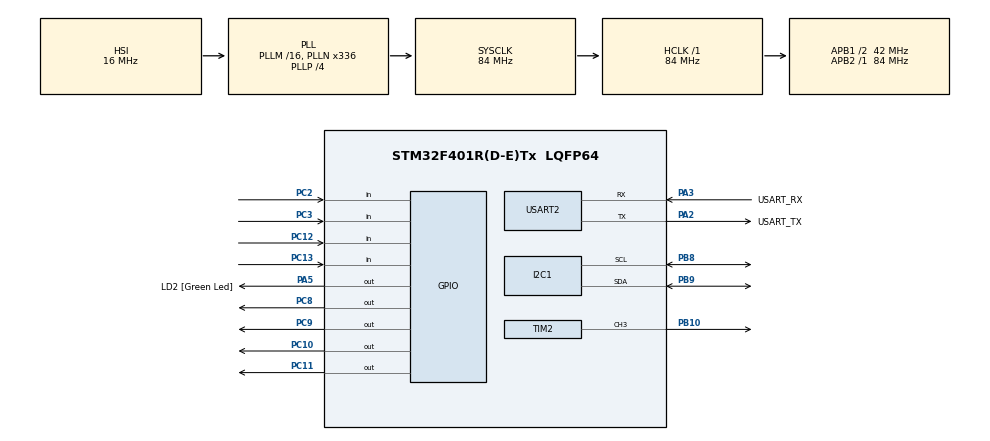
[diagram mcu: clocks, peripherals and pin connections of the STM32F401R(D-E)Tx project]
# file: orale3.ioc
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Mcu.Family=STM32F4
Mcu.Name=STM32F401R(D-E)Tx
Mcu.Package=LQFP64
NVIC.PriorityGroup=NVIC_PRIORITYGROUP_0
NVIC.RCC_IRQn=true\:0\:0\:false\:false\:true\:true\:false\:true
NVIC.TIM1_UP_TIM10_IRQn=true\:0\:0\:false\:false\:true\:true\:true\:true
NVIC.TIM2_IRQn=true\:0\:0\:false\:false\:true\:true\:true\:true
NVIC.TIM3_IRQn=true\:0\:0\:false\:false\:true\:true\:true\:true
NVIC.TIM4_IRQn=true\:0\:0\:false\:false\:true\:true\:true\:true
PA13.GPIO_Label=TMS
PA13.Mode=Serial_Wire
PA13.Signal=SYS_JTMS-SWDIO
PA14.GPIO_Label=TCK
PA14.Mode=Serial_Wire
PA14.Signal=SYS_JTCK-SWCLK
PA2.GPIO_Label=USART_TX
PA2.GPIO_Mode=GPIO_MODE_AF_PP
PA2.GPIO_PuPd=GPIO_NOPULL
PA2.GPIO_Speed=GPIO_SPEED_FREQ_LOW
PA2.Mode=Asynchronous
PA2.Signal=USART2_TX
PA3.GPIO_Label=USART_RX
PA3.GPIO_Mode=GPIO_MODE_AF_PP
PA3.GPIO_PuPd=GPIO_NOPULL
PA3.GPIO_Speed=GPIO_SPEED_FREQ_LOW
PA3.Mode=Asynchronous
PA3.Signal=USART2_RX
PA5.GPIO_Label=LD2 [Green Led]
PA5.GPIO_Mode=GPIO_MODE_OUTPUT_PP
PA5.GPIO_PuPd=GPIO_NOPULL
PA5.GPIO_Speed=GPIO_SPEED_FREQ_LOW
PA5.Signal=GPIO_Output
PB10.Signal=S_TIM2_CH3
PB3.GPIO_Label=SWO
PB3.Signal=SYS_JTDO-SWO
PB8.Mode=I2C
PB8.Signal=I2C1_SCL
PB9.Mode=I2C
PB9.Signal=I2C1_SDA
PC10.Signal=GPIO_Output
PC11.Signal=GPIO_Output
PC12.Signal=GPIO_Input
PC13-ANTI_TAMP.Signal=GPIO_Input
PC14-OSC32_IN.Mode=LSE-External-Oscillator
PC14-OSC32_IN.Signal=RCC_OSC32_IN
PC15-OSC32_OUT.Mode=LSE-External-Oscillator
PC15-OSC32_OUT.Signal=RCC_OSC32_OUT
PC2.Signal=GPIO_Input
PC3.Signal=GPIO_Input
PC8.Signal=GPIO_Output
PC9.Signal=GPIO_Output
PH0\ -\ OSC_IN.Mode=HSE-External-Clock-Source
PH0\ -\ OSC_IN.Signal=RCC_OSC_IN
PH1\ -\ OSC_OUT.Mode=HSE-External-Clock-Source
PH1\ -\ OSC_OUT.Signal=RCC_OSC_OUT
ProjectManager.HeapSize=0x200
ProjectManager.StackSize=0x400
ProjectManager.TargetToolchain=STM32CubeIDE
RCC.48MHZClocksFreq_Value=48000000
RCC.AHBFreq_Value=84000000
RCC.APB1CLKDivider=RCC_HCLK_DIV2
RCC.APB1Freq_Value=42000000
RCC.APB1TimFreq_Value=84000000
RCC.APB2Freq_Value=84000000
RCC.APB2TimFreq_Value=84000000
RCC.CortexFreq_Value=84000000
RCC.HCLKFreq_Value=84000000
RCC.HSE_VALUE=8000000
RCC.HSI_VALUE=16000000
RCC.PLLN=336
RCC.PLLP=RCC_PLLP_DIV4
RCC.PLLQ=7
RCC.SYSCLKFreq_VALUE=84000000
RCC.SYSCLKSource=RCC_SYSCLKSOURCE_PLLCLK
RCC.VCOOutputFreq_Value=336000000
SH.S_TIM2_CH3.0=TIM2_CH3,PWM Generation3 CH3
TIM1.Period=499
TIM1.Prescaler=69
TIM2.Channel-PWM\ Generation3\ CH3=TIM_CHANNEL_3
TIM2.Period=60
TIM2.Prescaler=35
TIM2.Pulse-PWM\ Generation3\ CH3=30
TIM3.Period=100-1
TIM3.Prescaler=8400-1
TIM4.Period=10000
TIM4.Prescaler=8400-1
USART2.VirtualMode=VM_ASYNC
VP_TIM1_VS_ClockSourceINT.Mode=Internal
VP_TIM2_VS_ClockSourceINT.Mode=Internal
VP_TIM3_VS_ClockSourceINT.Mode=Internal
VP_TIM4_VS_ClockSourceINT.Mode=Internal
board=NUCLEO-F401RE

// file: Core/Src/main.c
/* USER CODE BEGIN Header */
/**
 ******************************************************************************
 * @file           : main.c
 * @brief          : Main program body
 ******************************************************************************
 * @attention
 *
 * Copyright (c) 2023 STMicroelectronics.
 * All rights reserved.
 *
 * This software is licensed under terms that can be found in the LICENSE file
 * in the root directory of this software component.
 * If no LICENSE file comes with this software, it is provided AS-IS.
 *
 ******************************************************************************
 */
/* USER CODE END Header */
#include "main.h"

/* USER CODE BEGIN Includes */
#include <stdio.h>
/* USER CODE END Includes */

/* USER CODE BEGIN PD */
#define QUEUE_SIZE 100
#define N_ROWS_K 4
#define N_COLS_K 4
#define DATA_SIZE 2
/* USER CODE END PD */

I2C_HandleTypeDef hi2c1;

TIM_HandleTypeDef htim1;
TIM_HandleTypeDef htim2;
TIM_HandleTypeDef htim3;
TIM_HandleTypeDef htim4;

UART_HandleTypeDef huart2;

/* USER CODE BEGIN PV */
struct Queue {
	uint8_t items[QUEUE_SIZE];
	int front;
	int rear;
	int size;
} tx_queue;
int transmitting = 0;

const uint16_t k_input[] = { GPIO_PIN_3, GPIO_PIN_2, GPIO_PIN_13, GPIO_PIN_12 };
const uint16_t k_output[] = { GPIO_PIN_8, GPIO_PIN_9, GPIO_PIN_10, GPIO_PIN_11 };
char string[64];
int length;

uint16_t ThermAddress = 0b10010000;
uint8_t ThermDataAddr = 0x00;
uint32_t Timeout = 10;
uint8_t ThermBuffer[DATA_SIZE] = {0, 0};
uint8_t MSB = 0;
uint8_t LSB = 0;
// uint8_t MSB_old = 0;
// uint8_t LSB_old = 0;
uint8_t MSB_new = 0;
uint16_t TempBits = 0;
float temperature;

/* USER CODE END PV */

void SystemClock_Config(void);
static void MX_GPIO_Init(void);
static void MX_USART2_UART_Init(void);
static void MX_TIM2_Init(void);
static void MX_TIM3_Init(void);
static void MX_TIM1_Init(void);
static void MX_I2C1_Init(void);
static void MX_TIM4_Init(void);
/* USER CODE BEGIN PFP */
void init_queue(struct Queue* q);
int isFull(struct Queue *queue);
int isEmpty(struct Queue *queue);
int enqueue(struct Queue *queue, uint8_t item);
uint8_t dequeue(struct Queue *queue);
uint8_t* front(struct Queue *queue);
void transmit(uint8_t value);

/* USER CODE END PFP */

/* USER CODE BEGIN 0 */

void HAL_TIM_PeriodElapsedCallback(TIM_HandleTypeDef *htim) {
	if (htim == &htim1) {
		static int8_t bit_counter = -1; //bit that has to be transmitted
		static int8_t parity = 0; //parity bit memorization
		static int8_t tim_on = 0; //status of the timer
		static uint8_t data = 0; //byte to be sent
		uint8_t bit_tx; //bit to transmit

		if (bit_counter == -1) { //start bit
			data = dequeue(&tx_queue); //get the full byte to be sent
			bit_tx = 0; //transmit 0
		} else if (bit_counter < 7) { //7 bit of data transmission
			bit_tx = data & 0b00000001; //extract first bit
			data = data >> 1; //shift data for next transmission
			if (bit_tx)
				parity = !parity; //calculate parity (if a 1 is found switch parity)
		} else if (bit_counter == 7) { //partity bit transmission
			bit_tx = parity;
		} else if (bit_counter == 8) { //last transmission
			bit_tx = 1;
		}

		//transmission section
		if (bit_tx && tim_on) { //to transmit 1 turn off PWM
			HAL_TIM_PWM_Stop(&htim2, TIM_CHANNEL_3);
			tim_on = 0;

		} else if (!bit_tx && !tim_on) { //to transmit 0 turn on PWM
			HAL_TIM_PWM_Start(&htim2, TIM_CHANNEL_3);
			tim_on = 1;
		}

		if (bit_counter >= 8) { //reset variables for next transmission
			bit_counter = -1;
			parity = 0;
			if (isEmpty(&tx_queue)){ //if there is nothing more to transmit stop timer
				HAL_TIM_Base_Stop_IT(&htim1);
				transmitting = 0;
			}
			return;
		}

		bit_counter++;

	}else if (htim == &htim3) {
		static const char lett[16] = "CDEF89AB45670123"; //initialized letters array
		static char state[16] = { 0 }; //initialized states of buttons
		static int col = 0; //index for column

		for (int i = 0; i < N_ROWS_K; i++) {
			int on = !HAL_GPIO_ReadPin(GPIOC, k_input[i]);

			if (on && state[col + i * N_ROWS_K] == 0) {

				//enqueue letter for transmission
				transmit(lett[col + i * N_ROWS_K]);
				state[col + i * N_ROWS_K] = 1;

			} else if (!on && state[col + i * N_ROWS_K] == 1) {
				state[col + i * N_ROWS_K] = 0;
			}
		}

		HAL_GPIO_WritePin(GPIOC, k_output[col], 0);
		col = (col+1) % N_COLS_K;
		HAL_GPIO_WritePin(GPIOC, k_output[col], 1); //

	}
	if(htim == &htim4){
		if(HAL_I2C_Master_Receive(&hi2c1, ThermAddress+1, ThermBuffer, DATA_SIZE, Timeout) == HAL_OK){
			// MSB_old = MSB;
			// LSB_old = LSB;
			// temperature_old = temperature;
			MSB = ThermBuffer[0];
			LSB = ThermBuffer[1];
			// length = snprintf(string, sizeof(string),"MSB: 0x%02X LSB: 0x%02X\r\n", MSB, LSB);
			// HAL_UART_Transmit(&huart2, string, length, Timeout);

			// Solve the temperature change bug
			if(HAL_I2C_Master_Receive(&hi2c1, ThermAddress+1, &MSB_new, 1, Timeout) == HAL_OK){
				if (MSB_new != MSB){
					MSB = MSB_new;
				}
			} else {
				length = snprintf(string, sizeof(string), "Error in data reading!\r\n");
			}

			// Store the temperature data bits
			TempBits = ((MSB << 3) | (LSB >> 5));

			if (MSB & 0x80){
				// Invert the value of the bits and add one to obtain the right conversion
				TempBits = (TempBits ^ 0xFFF) + 1;
				temperature = - TempBits * 0.125;
			} else {
				// Convert the values as specified in the datasheet
				temperature = TempBits * 0.125;
			}

			length = snprintf(string, sizeof(string), "Temperature: %.3f C\r\n", temperature);
		} else {
			length = snprintf(string, sizeof(string), "Error in data reading!\r\n");
		}
		HAL_UART_Transmit(&huart2, string, length, Timeout);
		for(int i=0; i<strlen(string); i++){
			transmit(string[i]);
		}
	}
}

//to transmit data simply set current data value and start the timer

/* USER CODE END 0 */

int main(void)
{
  /* USER CODE BEGIN 1 */
	init_queue(&tx_queue);
  /* USER CODE END 1 */

  /* MCU Configuration--------------------------------------------------------*/

  /* Reset of all peripherals, Initializes the Flash interface and the Systick. */
  HAL_Init();

  /* Configure the system clock */
  SystemClock_Config();

  /* Initialize all configured peripherals */
  MX_GPIO_Init();
  MX_USART2_UART_Init();
  MX_TIM2_Init();
  MX_TIM3_Init();
  MX_TIM1_Init();
  MX_I2C1_Init();
  MX_TIM4_Init();
  /* USER CODE BEGIN 2 */
  HAL_TIM_Base_Start_IT(&htim3);
  HAL_I2C_Master_Transmit(&hi2c1, ThermAddress, &ThermDataAddr, DATA_SIZE, Timeout);
  HAL_TIM_Base_Start_IT(&htim4);

	//transmit('0');
	//transmit('1');
	//transmit('2');
	//transmit('3');
	//transmit('4');
	//transmit('5');
	//transmit('6');
	//transmit('7');
	//transmit('8');
	//transmit('9');
	//transmit('X');
	//transmit('A');
	//transmit('B');
	//transmit('C');
	//transmit('D');
	//transmit('E');
	//transmit('F');
  /* USER CODE END 2 */

  /* Infinite loop */
	while (1) {

	}
}

void SystemClock_Config(void)
{
  RCC_OscInitTypeDef RCC_OscInitStruct = {0};
  RCC_ClkInitTypeDef RCC_ClkInitStruct = {0};

  /** Configure the main internal regulator output voltage
  */
  __HAL_RCC_PWR_CLK_ENABLE();
  __HAL_PWR_VOLTAGESCALING_CONFIG(PWR_REGULATOR_VOLTAGE_SCALE2);

  /** Initializes the RCC Oscillators according to the specified parameters
  * in the RCC_OscInitTypeDef structure.
  */
  RCC_OscInitStruct.OscillatorType = RCC_OSCILLATORTYPE_HSI;
  RCC_OscInitStruct.HSIState = RCC_HSI_ON;
  RCC_OscInitStruct.HSICalibrationValue = RCC_HSICALIBRATION_DEFAULT;
  RCC_OscInitStruct.PLL.PLLState = RCC_PLL_ON;
  RCC_OscInitStruct.PLL.PLLSource = RCC_PLLSOURCE_HSI;
  RCC_OscInitStruct.PLL.PLLM = 16;
  RCC_OscInitStruct.PLL.PLLN = 336;
  RCC_OscInitStruct.PLL.PLLP = RCC_PLLP_DIV4;
  RCC_OscInitStruct.PLL.PLLQ = 7;
  if (HAL_RCC_OscConfig(&RCC_OscInitStruct) != HAL_OK)
  {
    Error_Handler();
  }

  /** Initializes the CPU, AHB and APB buses clocks
  */
  RCC_ClkInitStruct.ClockType = RCC_CLOCKTYPE_HCLK|RCC_CLOCKTYPE_SYSCLK
                              |RCC_CLOCKTYPE_PCLK1|RCC_CLOCKTYPE_PCLK2;
  RCC_ClkInitStruct.SYSCLKSource = RCC_SYSCLKSOURCE_PLLCLK;
  RCC_ClkInitStruct.AHBCLKDivider = RCC_SYSCLK_DIV1;
  RCC_ClkInitStruct.APB1CLKDivider = RCC_HCLK_DIV2;
  RCC_ClkInitStruct.APB2CLKDivider = RCC_HCLK_DIV1;

  if (HAL_RCC_ClockConfig(&RCC_ClkInitStruct, FLASH_LATENCY_2) != HAL_OK)
  {
    Error_Handler();
  }
}

static void MX_I2C1_Init(void)
{

  hi2c1.Instance = I2C1;
  hi2c1.Init.ClockSpeed = 100000;
  hi2c1.Init.DutyCycle = I2C_DUTYCYCLE_2;
  hi2c1.Init.OwnAddress1 = 0;
  hi2c1.Init.AddressingMode = I2C_ADDRESSINGMODE_7BIT;
  hi2c1.Init.DualAddressMode = I2C_DUALADDRESS_DISABLE;
  hi2c1.Init.OwnAddress2 = 0;
  hi2c1.Init.GeneralCallMode = I2C_GENERALCALL_DISABLE;
  hi2c1.Init.NoStretchMode = I2C_NOSTRETCH_DISABLE;
  if (HAL_I2C_Init(&hi2c1) != HAL_OK)
  {
    Error_Handler();
  }

}

static void MX_TIM1_Init(void)
{

  TIM_ClockConfigTypeDef sClockSourceConfig = {0};
  TIM_MasterConfigTypeDef sMasterConfig = {0};

  htim1.Instance = TIM1;
  htim1.Init.Prescaler = 69;
  htim1.Init.CounterMode = TIM_COUNTERMODE_UP;
  htim1.Init.Period = 499;
  htim1.Init.ClockDivision = TIM_CLOCKDIVISION_DIV1;
  htim1.Init.RepetitionCounter = 0;
  htim1.Init.AutoReloadPreload = TIM_AUTORELOAD_PRELOAD_DISABLE;
  if (HAL_TIM_Base_Init(&htim1) != HAL_OK)
  {
    Error_Handler();
  }
  sClockSourceConfig.ClockSource = TIM_CLOCKSOURCE_INTERNAL;
  if (HAL_TIM_ConfigClockSource(&htim1, &sClockSourceConfig) != HAL_OK)
  {
    Error_Handler();
  }
  sMasterConfig.MasterOutputTrigger = TIM_TRGO_RESET;
  sMasterConfig.MasterSlaveMode = TIM_MASTERSLAVEMODE_DISABLE;
  if (HAL_TIMEx_MasterConfigSynchronization(&htim1, &sMasterConfig) != HAL_OK)
  {
    Error_Handler();
  }

}

static void MX_TIM2_Init(void)
{

  TIM_ClockConfigTypeDef sClockSourceConfig = {0};
  TIM_MasterConfigTypeDef sMasterConfig = {0};
  TIM_OC_InitTypeDef sConfigOC = {0};

  htim2.Instance = TIM2;
  htim2.Init.Prescaler = 35;
  htim2.Init.CounterMode = TIM_COUNTERMODE_UP;
  htim2.Init.Period = 60;
  htim2.Init.ClockDivision = TIM_CLOCKDIVISION_DIV1;
  htim2.Init.AutoReloadPreload = TIM_AUTORELOAD_PRELOAD_DISABLE;
  if (HAL_TIM_Base_Init(&htim2) != HAL_OK)
  {
    Error_Handler();
  }
  sClockSourceConfig.ClockSource = TIM_CLOCKSOURCE_INTERNAL;
  if (HAL_TIM_ConfigClockSource(&htim2, &sClockSourceConfig) != HAL_OK)
  {
    Error_Handler();
  }
  if (HAL_TIM_PWM_Init(&htim2) != HAL_OK)
  {
    Error_Handler();
  }
  sMasterConfig.MasterOutputTrigger = TIM_TRGO_RESET;
  sMasterConfig.MasterSlaveMode = TIM_MASTERSLAVEMODE_DISABLE;
  if (HAL_TIMEx_MasterConfigSynchronization(&htim2, &sMasterConfig) != HAL_OK)
  {
    Error_Handler();
  }
  sConfigOC.OCMode = TIM_OCMODE_PWM1;
  sConfigOC.Pulse = 30;
  sConfigOC.OCPolarity = TIM_OCPOLARITY_HIGH;
  sConfigOC.OCFastMode = TIM_OCFAST_DISABLE;
  if (HAL_TIM_PWM_ConfigChannel(&htim2, &sConfigOC, TIM_CHANNEL_3) != HAL_OK)
  {
    Error_Handler();
  }
  HAL_TIM_MspPostInit(&htim2);

}

static void MX_TIM3_Init(void)
{

  TIM_ClockConfigTypeDef sClockSourceConfig = {0};
  TIM_MasterConfigTypeDef sMasterConfig = {0};

  htim3.Instance = TIM3;
  htim3.Init.Prescaler = 8400-1;
  htim3.Init.CounterMode = TIM_COUNTERMODE_UP;
  htim3.Init.Period = 100-1;
  htim3.Init.ClockDivision = TIM_CLOCKDIVISION_DIV1;
  htim3.Init.AutoReloadPreload = TIM_AUTORELOAD_PRELOAD_DISABLE;
  if (HAL_TIM_Base_Init(&htim3) != HAL_OK)
  {
    Error_Handler();
  }
  sClockSourceConfig.ClockSource = TIM_CLOCKSOURCE_INTERNAL;
  if (HAL_TIM_ConfigClockSource(&htim3, &sClockSourceConfig) != HAL_OK)
  {
    Error_Handler();
  }
  sMasterConfig.MasterOutputTrigger = TIM_TRGO_RESET;
  sMasterConfig.MasterSlaveMode = TIM_MASTERSLAVEMODE_DISABLE;
  if (HAL_TIMEx_MasterConfigSynchronization(&htim3, &sMasterConfig) != HAL_OK)
  {
    Error_Handler();
  }

}

static void MX_TIM4_Init(void)
{

  TIM_ClockConfigTypeDef sClockSourceConfig = {0};
  TIM_MasterConfigTypeDef sMasterConfig = {0};

  htim4.Instance = TIM4;
  htim4.Init.Prescaler = 8400-1;
  htim4.Init.CounterMode = TIM_COUNTERMODE_UP;
  htim4.Init.Period = 10000;
  htim4.Init.ClockDivision = TIM_CLOCKDIVISION_DIV1;
  htim4.Init.AutoReloadPreload = TIM_AUTORELOAD_PRELOAD_DISABLE;
  if (HAL_TIM_Base_Init(&htim4) != HAL_OK)
  {
    Error_Handler();
  }
  sClockSourceConfig.ClockSource = TIM_CLOCKSOURCE_INTERNAL;
  if (HAL_TIM_ConfigClockSource(&htim4, &sClockSourceConfig) != HAL_OK)
  {
    Error_Handler();
  }
  sMasterConfig.MasterOutputTrigger = TIM_TRGO_RESET;
  sMasterConfig.MasterSlaveMode = TIM_MASTERSLAVEMODE_DISABLE;
  if (HAL_TIMEx_MasterConfigSynchronization(&htim4, &sMasterConfig) != HAL_OK)
  {
    Error_Handler();
  }

}

static void MX_USART2_UART_Init(void)
{

  huart2.Instance = USART2;
  huart2.Init.BaudRate = 115200;
  huart2.Init.WordLength = UART_WORDLENGTH_8B;
  huart2.Init.StopBits = UART_STOPBITS_1;
  huart2.Init.Parity = UART_PARITY_NONE;
  huart2.Init.Mode = UART_MODE_TX_RX;
  huart2.Init.HwFlowCtl = UART_HWCONTROL_NONE;
  huart2.Init.OverSampling = UART_OVERSAMPLING_16;
  if (HAL_UART_Init(&huart2) != HAL_OK)
  {
    Error_Handler();
  }

}

static void MX_GPIO_Init(void)
{
  GPIO_InitTypeDef GPIO_InitStruct = {0};

  /* GPIO Ports Clock Enable */
  __HAL_RCC_GPIOC_CLK_ENABLE();
  __HAL_RCC_GPIOH_CLK_ENABLE();
  __HAL_RCC_GPIOA_CLK_ENABLE();
  __HAL_RCC_GPIOB_CLK_ENABLE();

  /*Configure GPIO pin Output Level */
  HAL_GPIO_WritePin(LD2_GPIO_Port, LD2_Pin, GPIO_PIN_RESET);

  /*Configure GPIO pin Output Level */
  HAL_GPIO_WritePin(GPIOC, GPIO_PIN_8|GPIO_PIN_9|GPIO_PIN_10|GPIO_PIN_11, GPIO_PIN_RESET);

  /*Configure GPIO pins : PC13 PC2 PC3 PC12 */
  GPIO_InitStruct.Pin = GPIO_PIN_13|GPIO_PIN_2|GPIO_PIN_3|GPIO_PIN_12;
  GPIO_InitStruct.Mode = GPIO_MODE_INPUT;
  GPIO_InitStruct.Pull = GPIO_NOPULL;
  HAL_GPIO_Init(GPIOC, &GPIO_InitStruct);

  /*Configure GPIO pin : LD2_Pin */
  GPIO_InitStruct.Pin = LD2_Pin;
  GPIO_InitStruct.Mode = GPIO_MODE_OUTPUT_PP;
  GPIO_InitStruct.Pull = GPIO_NOPULL;
  GPIO_InitStruct.Speed = GPIO_SPEED_FREQ_LOW;
  HAL_GPIO_Init(LD2_GPIO_Port, &GPIO_InitStruct);

  /*Configure GPIO pins : PC8 PC9 PC10 PC11 */
  GPIO_InitStruct.Pin = GPIO_PIN_8|GPIO_PIN_9|GPIO_PIN_10|GPIO_PIN_11;
  GPIO_InitStruct.Mode = GPIO_MODE_OUTPUT_PP;
  GPIO_InitStruct.Pull = GPIO_NOPULL;
  GPIO_InitStruct.Speed = GPIO_SPEED_FREQ_LOW;
  HAL_GPIO_Init(GPIOC, &GPIO_InitStruct);

}

/* USER CODE BEGIN 4 */
void init_queue(struct Queue* q){
	q->front = 0;
	q->rear = QUEUE_SIZE - 1;
	q->size = 0;
}
int isFull(struct Queue *queue) {
	return queue->size == QUEUE_SIZE;
}

int isEmpty(struct Queue *queue) {
	return (queue->size == 0);
}

int enqueue(struct Queue *queue, uint8_t item) {
	if (isFull(queue))
		return 0;
	queue->rear = (queue->rear + 1) % QUEUE_SIZE;
	queue->items[queue->rear] = item;
	queue->size = queue->size + 1;
	return 1;
}

uint8_t dequeue(struct Queue *queue) {
	if (isEmpty(queue))
		Error_Handler(); //if dequeue with empty queue return error!

	uint8_t item = queue->items[queue->front];
	queue->front = (queue->front + 1) % QUEUE_SIZE;
	queue->size = queue->size - 1;
	return item;
}

uint8_t* front(struct Queue* queue)
{
    if (isEmpty(queue)) Error_Handler();
    return &(queue->items[queue->front]);
}

void transmit(uint8_t value) {
	enqueue(&tx_queue, value);
	if(!transmitting){
		HAL_TIM_Base_Start_IT(&htim1);
		transmitting = 1;
	}
}
/* USER CODE END 4 */

void Error_Handler(void)
{
	__disable_irq();
	while (1) {
	}
}
